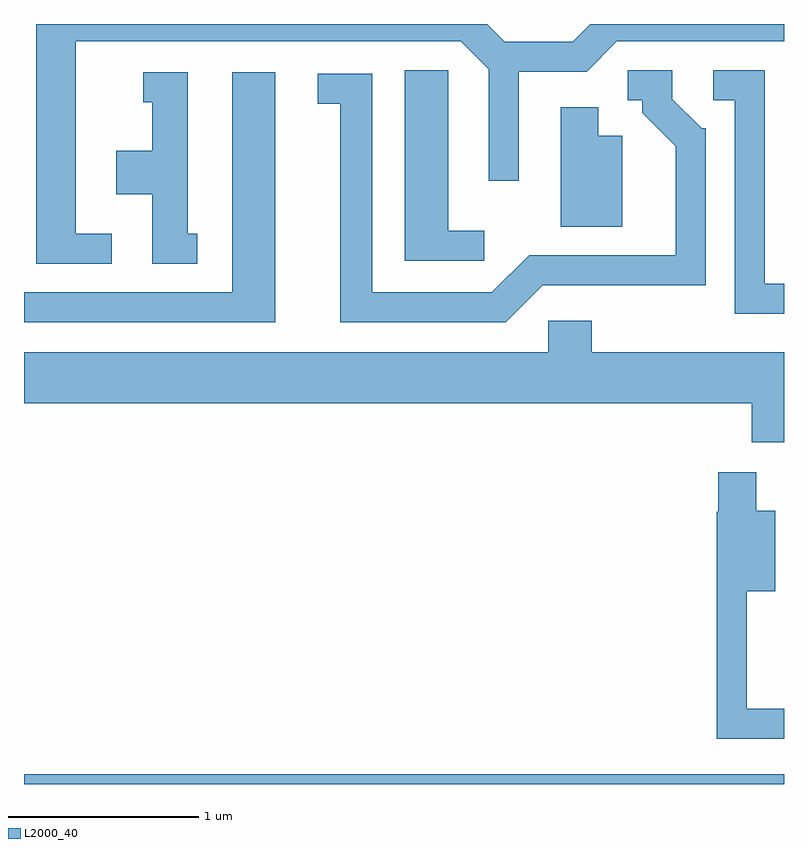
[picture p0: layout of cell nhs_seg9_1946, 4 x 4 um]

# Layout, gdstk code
import gdstk
lib = gdstk.Library(unit=1e-6, precision=1e-09)
def R(c, l, rs):  # rectangles x0, y0, x1, y1
    for r in rs: c.add(gdstk.rectangle(r[:2], r[2:], *l))
def P(c, l, *ps):  # polygons
    for p in ps: c.add(gdstk.Polygon(p, *l))
L2000_40 = (2000, 40)

nhs_seg9_1946 = lib.new_cell('nhs_seg9_1946')
R(nhs_seg9_1946, L2000_40, [(241.611,2036.432,245.611,2036.484)])
P(nhs_seg9_1946, L2000_40, [(242.073,2039.329),(241.884,2039.329),(241.884,2040.341),(243.909,2040.341),(244.056,2040.194),(244.056,2039.608),(244.214,2039.608),(244.214,2040.181),(244.572,2040.181),(244.732,2040.341),(245.611,2040.341),(245.611,2040.432),(244.592,2040.432),(244.499,2040.339),(244.142,2040.339),(244.049,2040.432),(241.676,2040.432),(241.676,2039.171),(242.073,2039.171)],
  [(245.611,2039.064),(245.509,2039.064),(245.509,2040.189),(245.238,2040.189),(245.238,2040.031),(245.351,2040.031),(245.351,2038.906),(245.611,2038.906)],
  [(244.033,2039.344),(243.844,2039.344),(243.844,2040.189),(243.616,2040.189),(243.616,2039.186),(244.033,2039.186)],
  [(244.342,2039.056),(245.199,2039.056),(245.199,2039.884),(245.177,2039.884),(245.024,2040.037),(245.024,2040.189),(244.788,2040.189),(244.788,2040.031),(244.866,2040.031),(244.866,2039.964),(245.041,2039.789),(245.041,2039.214),(244.269,2039.214),(244.074,2039.019),(243.444,2039.019),(243.444,2040.169),(243.158,2040.169),(243.158,2040.011),(243.276,2040.011),(243.276,2038.861),(244.147,2038.861)],
  [(242.934,2040.179),(242.706,2040.179),(242.706,2039.019),(241.611,2039.019),(241.611,2038.861),(242.934,2038.861)],
  [(242.523,2039.329),(242.474,2039.329),(242.474,2040.179),(242.238,2040.179),(242.238,2040.021),(242.286,2040.021),(242.286,2039.764),(242.096,2039.764),(242.096,2039.536),(242.286,2039.536),(242.286,2039.171),(242.523,2039.171)],
  [(244.759,2039.844),(244.634,2039.844),(244.634,2039.994),(244.436,2039.994),(244.436,2039.366),(244.759,2039.366)],
  [(245.611,2038.704),(244.599,2038.704),(244.599,2038.869),(244.371,2038.869),(244.371,2038.704),(241.611,2038.704),(241.611,2038.436),(245.441,2038.436),(245.441,2038.231),(245.611,2038.231)],
  [(245.611,2036.829),(245.414,2036.829),(245.414,2037.446),(245.564,2037.446),(245.564,2037.869),(245.464,2037.869),(245.464,2038.074),(245.266,2038.074),(245.266,2037.865),(245.256,2037.865),(245.256,2036.671),(245.611,2036.671)])

lib.write_gds('nhs_seg9_1946.gds')
